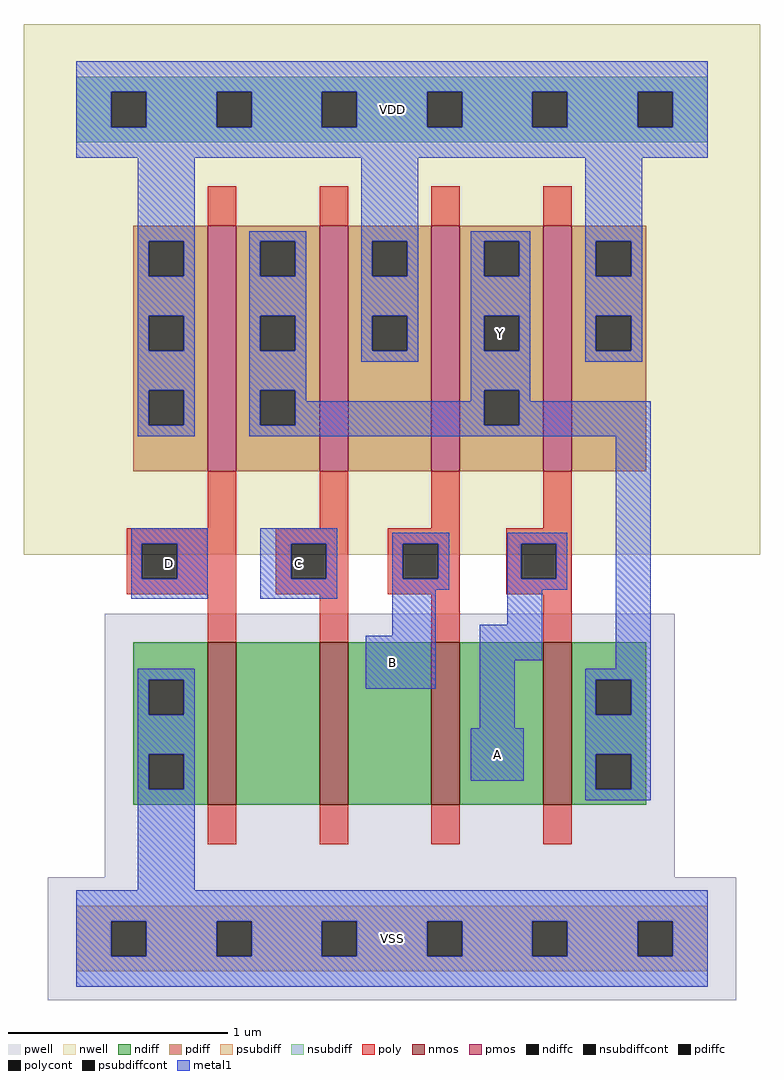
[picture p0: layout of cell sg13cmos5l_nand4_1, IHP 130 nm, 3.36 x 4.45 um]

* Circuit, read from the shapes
.subckt sg13cmos5l_nand4_1 VDD Y B C VSS A D
XM1 n1 D VSS VSS sg13_lv_nmos w=0.74u l=0.13u
XM2 n2 C n1 VSS sg13_lv_nmos w=0.74u l=0.13u
XM3 n3 B n2 VSS sg13_lv_nmos w=0.74u l=0.13u
XM4 Y A n3 VSS sg13_lv_nmos w=0.74u l=0.13u
XM5 Y D VDD VDD sg13_lv_pmos w=1.12u l=0.13u
XM6 VDD C Y VDD sg13_lv_pmos w=1.12u l=0.13u
XM7 Y B VDD VDD sg13_lv_pmos w=1.12u l=0.13u
XM8 VDD A Y VDD sg13_lv_pmos w=1.12u l=0.13u
.ends

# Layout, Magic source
magic
tech ihp-sg13cmos5l
magscale 1 2
<< nwell >>
rect -48 350 624 834
<< pwell >>
rect 26 56 546 296
rect -26 -56 602 56
<< nmos >>
rect 120 122 146 270
rect 222 122 248 270
rect 324 122 350 270
rect 426 122 452 270
<< pmos >>
rect 120 426 146 650
rect 222 426 248 650
rect 324 426 350 650
rect 426 426 452 650
<< ndiff >>
rect 52 236 120 270
rect 52 204 66 236
rect 98 204 120 236
rect 52 168 120 204
rect 52 136 66 168
rect 98 136 120 168
rect 52 122 120 136
rect 146 122 222 270
rect 248 122 324 270
rect 350 122 426 270
rect 452 236 520 270
rect 452 204 474 236
rect 506 204 520 236
rect 452 168 520 204
rect 452 136 474 168
rect 506 136 520 168
rect 452 122 520 136
<< pdiff >>
rect 52 636 120 650
rect 52 604 66 636
rect 98 604 120 636
rect 52 568 120 604
rect 52 536 66 568
rect 98 536 120 568
rect 52 500 120 536
rect 52 468 66 500
rect 98 468 120 500
rect 52 426 120 468
rect 146 636 222 650
rect 146 604 168 636
rect 200 604 222 636
rect 146 568 222 604
rect 146 536 168 568
rect 200 536 222 568
rect 146 500 222 536
rect 146 468 168 500
rect 200 468 222 500
rect 146 426 222 468
rect 248 636 324 650
rect 248 604 270 636
rect 302 604 324 636
rect 248 568 324 604
rect 248 536 270 568
rect 302 536 324 568
rect 248 426 324 536
rect 350 636 426 650
rect 350 604 372 636
rect 404 604 426 636
rect 350 568 426 604
rect 350 536 372 568
rect 404 536 426 568
rect 350 500 426 536
rect 350 468 372 500
rect 404 468 426 500
rect 350 426 426 468
rect 452 636 520 650
rect 452 604 474 636
rect 506 604 520 636
rect 452 568 520 604
rect 452 536 474 568
rect 506 536 520 568
rect 452 426 520 536
<< ndiffc >>
rect 66 204 98 236
rect 66 136 98 168
rect 474 204 506 236
rect 474 136 506 168
<< pdiffc >>
rect 66 604 98 636
rect 66 536 98 568
rect 66 468 98 500
rect 168 604 200 636
rect 168 536 200 568
rect 168 468 200 500
rect 270 604 302 636
rect 270 536 302 568
rect 372 604 404 636
rect 372 536 404 568
rect 372 468 404 500
rect 474 604 506 636
rect 474 536 506 568
<< psubdiff >>
rect 0 16 576 30
rect 0 -16 32 16
rect 64 -16 128 16
rect 160 -16 224 16
rect 256 -16 320 16
rect 352 -16 416 16
rect 448 -16 512 16
rect 544 -16 576 16
rect 0 -30 576 -16
<< nsubdiff >>
rect 0 772 576 786
rect 0 740 32 772
rect 64 740 128 772
rect 160 740 224 772
rect 256 740 320 772
rect 352 740 416 772
rect 448 740 512 772
rect 544 740 576 772
rect 0 726 576 740
<< psubdiffcont >>
rect 32 -16 64 16
rect 128 -16 160 16
rect 224 -16 256 16
rect 320 -16 352 16
rect 416 -16 448 16
rect 512 -16 544 16
<< nsubdiffcont >>
rect 32 740 64 772
rect 128 740 160 772
rect 224 740 256 772
rect 320 740 352 772
rect 416 740 448 772
rect 512 740 544 772
<< poly >>
rect 120 650 146 686
rect 222 650 248 686
rect 324 650 350 686
rect 426 650 452 686
rect 120 374 146 426
rect 222 374 248 426
rect 324 374 350 426
rect 426 374 452 426
rect 46 360 146 374
rect 46 328 60 360
rect 92 328 146 360
rect 46 314 146 328
rect 182 360 248 374
rect 182 328 196 360
rect 228 328 248 360
rect 182 314 248 328
rect 284 360 350 374
rect 284 328 298 360
rect 330 328 350 360
rect 284 314 350 328
rect 392 360 452 374
rect 392 328 406 360
rect 438 328 452 360
rect 392 314 452 328
rect 120 270 146 314
rect 222 270 248 314
rect 324 270 350 314
rect 426 270 452 314
rect 120 86 146 122
rect 222 86 248 122
rect 324 86 350 122
rect 426 86 452 122
<< polycont >>
rect 60 328 92 360
rect 196 328 228 360
rect 298 328 330 360
rect 406 328 438 360
<< metal1 >>
rect 0 772 576 800
rect 0 740 32 772
rect 64 740 128 772
rect 160 740 224 772
rect 256 740 320 772
rect 352 740 416 772
rect 448 740 512 772
rect 544 740 576 772
rect 0 712 576 740
rect 56 636 108 712
rect 56 604 66 636
rect 98 604 108 636
rect 56 568 108 604
rect 56 536 66 568
rect 98 536 108 568
rect 56 500 108 536
rect 56 468 66 500
rect 98 468 108 500
rect 56 458 108 468
rect 158 636 210 645
rect 158 604 168 636
rect 200 604 210 636
rect 158 568 210 604
rect 158 536 168 568
rect 200 536 210 568
rect 158 500 210 536
rect 260 636 312 712
rect 260 604 270 636
rect 302 604 312 636
rect 260 568 312 604
rect 260 536 270 568
rect 302 536 312 568
rect 260 526 312 536
rect 360 636 414 645
rect 360 604 372 636
rect 404 604 414 636
rect 360 568 414 604
rect 360 536 372 568
rect 404 536 414 568
rect 158 468 168 500
rect 200 490 210 500
rect 360 500 414 536
rect 464 636 516 712
rect 464 604 474 636
rect 506 604 516 636
rect 464 568 516 604
rect 464 536 474 568
rect 506 536 516 568
rect 464 526 516 536
rect 360 490 372 500
rect 200 468 372 490
rect 404 490 414 500
rect 404 468 524 490
rect 158 458 524 468
rect 50 360 120 374
rect 50 328 60 360
rect 92 328 120 360
rect 50 310 120 328
rect 168 360 238 374
rect 168 328 196 360
rect 228 328 238 360
rect 168 310 238 328
rect 288 360 340 370
rect 288 328 298 360
rect 330 328 340 360
rect 288 318 340 328
rect 393 360 448 370
rect 393 328 406 360
rect 438 328 448 360
rect 393 318 448 328
rect 288 276 328 318
rect 393 286 425 318
rect 56 236 108 246
rect 56 204 66 236
rect 98 204 108 236
rect 264 228 328 276
rect 368 254 425 286
rect 56 168 108 204
rect 368 192 400 254
rect 492 246 524 458
rect 464 236 524 246
rect 464 204 474 236
rect 506 204 524 236
rect 56 136 66 168
rect 98 136 108 168
rect 360 144 408 192
rect 464 168 524 204
rect 56 44 108 136
rect 464 136 474 168
rect 506 136 524 168
rect 464 126 524 136
rect 0 16 576 44
rect 0 -16 32 16
rect 64 -16 128 16
rect 160 -16 224 16
rect 256 -16 320 16
rect 352 -16 416 16
rect 448 -16 512 16
rect 544 -16 576 16
rect 0 -44 576 -16
<< labels >>
flabel metal1 s 0 712 576 800 0 FreeSans 400 0 0 0 VDD
port 2 nsew
flabel metal1 s 360 458 414 645 0 FreeSans 400 0 0 0 Y
port 3 nsew
flabel metal1 s 264 228 312 276 0 FreeSans 400 0 0 0 B
port 4 nsew
flabel metal1 s 168 310 238 374 0 FreeSans 400 0 0 0 C
port 5 nsew
flabel metal1 s 0 -44 576 44 0 FreeSans 400 0 0 0 VSS
port 6 nsew
flabel metal1 s 360 144 408 192 0 FreeSans 400 0 0 0 A
port 7 nsew
flabel metal1 s 50 310 120 374 0 FreeSans 500 0 0 0 D
port 8 nsew
<< properties >>
string FIXED_BBOX 0 0 576 756
string GDS_END 53582
string GDS_FILE pll_digital.gds
string GDS_START 48892
<< end >>
